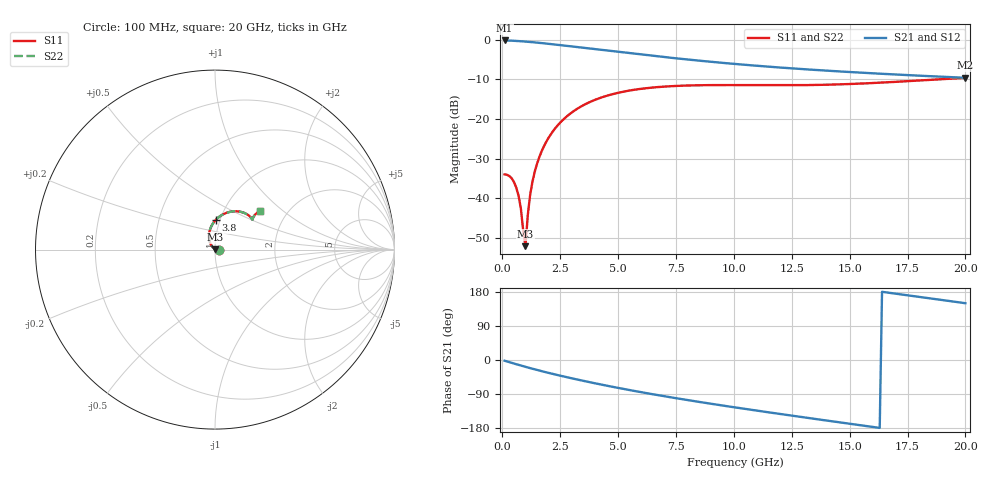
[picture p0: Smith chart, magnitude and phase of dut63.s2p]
! Touchstone file exported from HFSS 2023.1.0
!  File:  D:/Users/fzz/RDL_TSV/temp_RDL_TSV_63_1778746267.aedt
!  Generated:  4:21:26 %x4E0B%x5348  5%x6708 14, 2026
!  Design:  RDL_TSV
!  Project:  temp_RDL_TSV_63_1778746267
!  Setup:  Setup1
!  Solution:  Sweep
! Variables:
!  dtsv = 10.75um
!  hbump = 3um
!  htsv = 80.56um
!  ldown = 538.35um
!  lrdl = 307.89um
!  p = 40
!  p1 = 49.15um
!  rhole = 10um
!  subl = 2846.61um
!  t = 450um
!  tdown = 2.34um
!  trdl = 2.63um
!  viad = 10um
!  wdown = 28.61um
!  wrdl = 14.68um
!  xbump = 18um
# GHz S MA R 50.000000
! Terminal data exported
! Port[1] = TM1_1_T1
! Port[2] = TM1_4_T1
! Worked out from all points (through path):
!   200 points, 100 MHz to 20 GHz, reference 50 ohm
!   highest |S21| = -0.18 dB at 100 MHz (marker M1); lowest = -9.6 dB at 20 GHz (marker M2)
!   group delay of S21, straight-line fit = 27.5 ps
!   lowest |S11| = -52.0 dB at 1 GHz (marker M3), VSWR 1.01, Z = 50 + j0.249 ohm
!   |S11| at or under -10 dB: start of sweep to 18.82 GHz
!   |S22| runs from -52.0 to -9.6 dB; largest |S21 - S12| = 1.3e-14
!   S11 on the Smith chart (normalised r, x): 100 MHz: 1.04, -0.00; 3.8 GHz: 0.95, +0.32; 20 GHz: 1.47, +0.71
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0.1  0.02007 -0.2  0.9793 -1.9  0.9793 -1.9  0.02007 -0.2
! Gamma 0 0 0 0
! Port Impedance 50 0 50 0
0.4  0.01799 -4.4  0.9728 -7.5  0.9728 -7.5  0.01799 -4.4
0.6  0.01379 -7.8  0.966 -11.1  0.966 -11.1  0.01379 -7.8
0.7  0.01089 -8.2  0.9621 -12.8  0.9621 -12.8  0.01089 -8.2
0.8  0.007546 -5.7  0.9577 -14.6  0.9577 -14.6  0.007545 -5.7
0.9  0.004004 8.5  0.9531 -16.3  0.9531 -16.3  0.004003 8.5
1  0.002501 84.9  0.9481 -18.0  0.9481 -18.0  0.002505 84.9
1.1  0.006133 126.0  0.9429 -19.7  0.9429 -19.7  0.006137 126.0
1.2  0.01093 133.0  0.9374 -21.4  0.9374 -21.4  0.01093 133.0
1.4  0.02163 133.5  0.9259 -24.7  0.9259 -24.7  0.02163 133.4
1.7  0.03933 128.3  0.9074 -29.4  0.9074 -29.4  0.03933 128.3
2  0.05818 122.1  0.8882 -34.0  0.8882 -34.0  0.05818 122.0
2.4  0.08386 113.7  0.8622 -39.9  0.8622 -39.9  0.08385 113.7
3.5  0.1495 93.5  0.792 -55.0  0.792 -55.0  0.1495 93.5
3.8  0.165 88.7  0.7736 -58.9  0.7736 -58.9  0.165 88.7
5.1  0.2174 71.6  0.6985 -74.8  0.6985 -74.8  0.2174 71.6
6.8  0.2542 56.0  0.6136 -93.5  0.6136 -93.5  0.2542 55.9
8.4  0.2666 46.5  0.5485 -109.6  0.5485 -109.6  0.2666 46.5
10.1  0.2681 40.9  0.4937 -125.5  0.4937 -125.5  0.268 40.9
13.4  0.2688 38.8  0.4183 -154.6  0.4183 -154.6  0.2686 38.8
16.7  0.2916 40.9  0.3682 177.4  0.3682 177.4  0.2913 40.9
20  0.3307 40.4  0.3314 149.9  0.3314 149.9  0.3304 40.4
